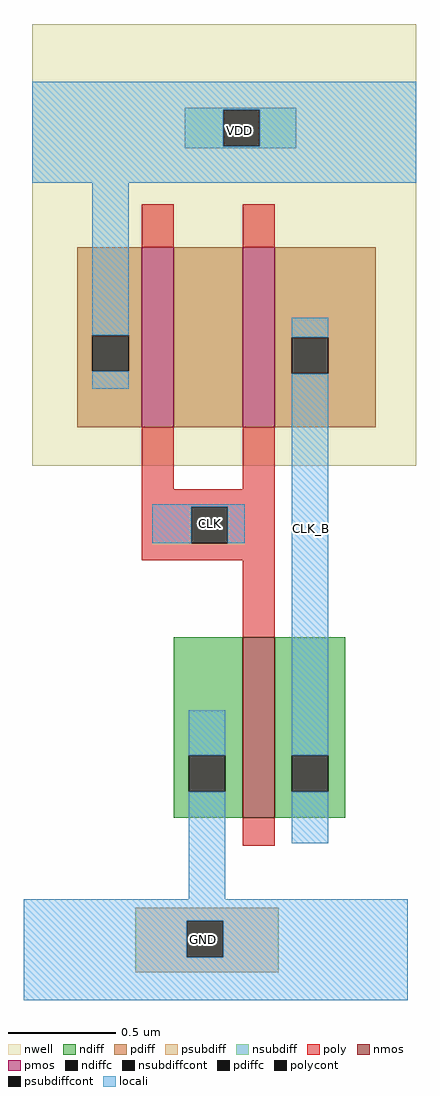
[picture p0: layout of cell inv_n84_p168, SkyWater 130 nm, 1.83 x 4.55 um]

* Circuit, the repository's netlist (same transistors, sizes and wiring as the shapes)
* NGSPICE file created from inv_n84_p168.ext - technology: sky130A

.subckt inv_n84_p168 CLK CLK_B VDD GND
X0 CLK_B CLK GND GND sky130_fd_pr__nfet_01v8 ad=0.277 pd=2.34 as=0.269 ps=2.32 w=0.84 l=0.15
X1 CLK_B CLK a_n182_302# VDD sky130_fd_pr__pfet_01v8 ad=0.395 pd=2.62 as=0.134 ps=1.16 w=0.84 l=0.15
X2 a_n182_302# CLK VDD VDD sky130_fd_pr__pfet_01v8 ad=0.134 pd=1.16 as=0.252 ps=2.28 w=0.84 l=0.15
.ends

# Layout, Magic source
magic
tech sky130A
<< nwell >>
rect -157 133 22 339
<< nmos >>
rect -59 -31 -44 53
<< pmos >>
rect -106 151 -91 235
rect -59 151 -44 235
<< ndiff >>
rect -91 -2 -59 53
rect -91 -19 -84 -2
rect -67 -19 -59 -2
rect -91 -31 -59 -19
rect -44 -2 -11 53
rect -44 -19 -36 -2
rect -19 -19 -11 -2
rect -44 -31 -11 -19
<< pdiff >>
rect -136 194 -106 235
rect -136 177 -129 194
rect -112 177 -106 194
rect -136 151 -106 177
rect -91 151 -59 235
rect -44 193 3 235
rect -44 176 -36 193
rect -19 176 3 193
rect -44 151 3 176
<< ndiffc >>
rect -84 -19 -67 -2
rect -36 -19 -19 -2
<< pdiffc >>
rect -129 177 -112 194
rect -36 176 -19 193
<< psubdiff >>
rect -109 -79 -42 -73
rect -109 -96 -85 -79
rect -68 -96 -42 -79
rect -109 -103 -42 -96
<< nsubdiff >>
rect -86 299 -34 300
rect -86 282 -68 299
rect -51 282 -34 299
rect -86 281 -34 282
<< psubdiffcont >>
rect -85 -96 -68 -79
<< nsubdiffcont >>
rect -68 282 -51 299
<< poly >>
rect -106 235 -91 255
rect -59 235 -44 255
rect -106 122 -91 151
rect -59 122 -44 151
rect -106 114 -44 122
rect -106 97 -83 114
rect -66 97 -44 114
rect -106 89 -44 97
rect -59 53 -44 89
rect -59 -44 -44 -31
<< polycont >>
rect -83 97 -66 114
<< locali >>
rect -157 299 22 312
rect -157 282 -68 299
rect -51 282 22 299
rect -157 265 22 282
rect -129 194 -112 265
rect -129 169 -112 177
rect -36 193 -19 202
rect -101 114 -58 115
rect -101 97 -83 114
rect -66 97 -58 114
rect -84 -2 -67 19
rect -84 -69 -67 -19
rect -36 -2 -19 176
rect -36 -43 -19 -19
rect -161 -79 18 -69
rect -161 -96 -85 -79
rect -68 -96 18 -79
rect -161 -116 18 -96
<< labels >>
rlabel nsubdiffcont -61 289 -60 290 1 VDD
port 3 n
rlabel polycont -74 106 -74 106 1 CLK
port 1 n
rlabel locali -27 104 -27 104 1 CLK_B
port 2 n
rlabel psubdiffcont -77 -88 -77 -88 1 GND
port 4 n
<< end >>
